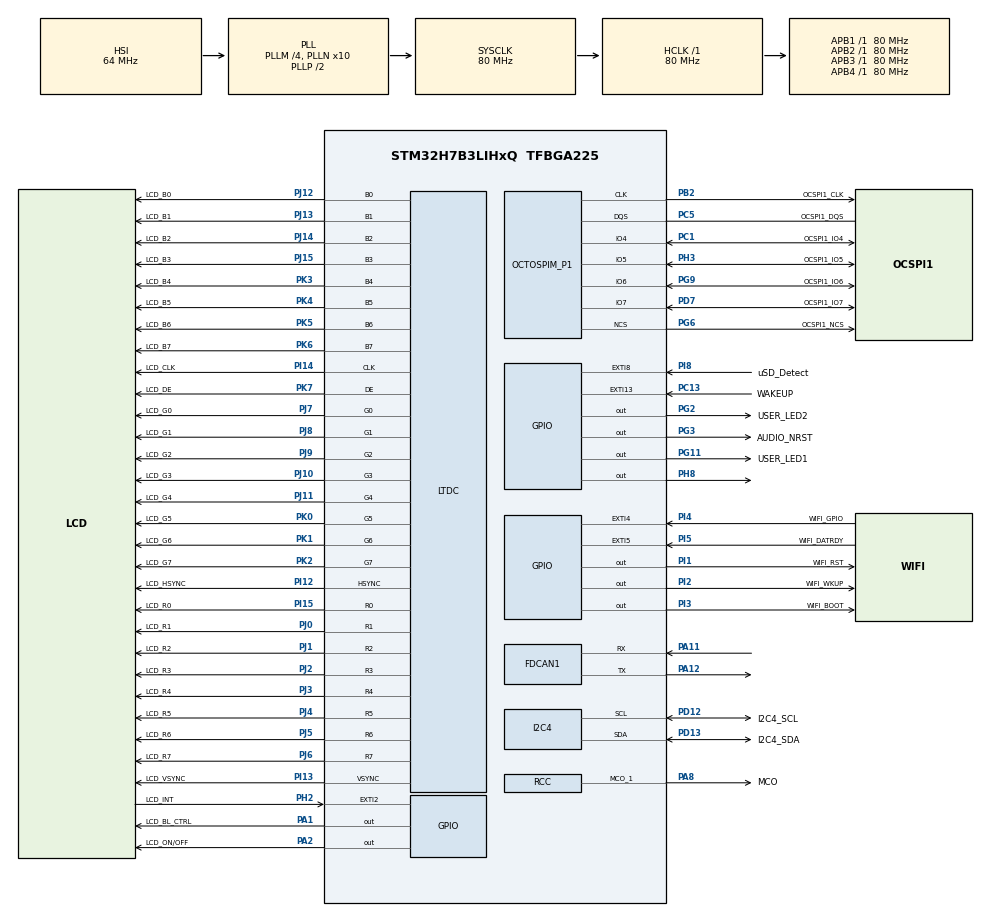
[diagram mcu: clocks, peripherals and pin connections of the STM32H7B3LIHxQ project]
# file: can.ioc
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FDCAN1.AutoRetransmission=ENABLE
FDCAN1.CalculateBaudRateNominal=250000
FDCAN1.CalculateTimeBitNominal=4000
FDCAN1.CalculateTimeQuantumNominal=500.0
FDCAN1.DataPrescaler=8
FDCAN1.DataSyncJumpWidth=4
FDCAN1.DataTimeSeg1=20
FDCAN1.DataTimeSeg2=4
FDCAN1.NominalPrescaler=12
FDCAN1.NominalSyncJumpWidth=26
FDCAN1.NominalTimeSeg1=5
FDCAN1.NominalTimeSeg2=2
FDCAN1.RxBuffersNbr=32
FDCAN1.RxFifo0ElmtsNbr=32
FDCAN1.RxFifo1ElmtsNbr=32
FDCAN1.StdFiltersNbr=1
FDCAN1.TransmitPause=ENABLE
FDCAN1.TxBuffersNbr=32
FDCAN1.TxEventsNbr=32
FDCAN1.TxFifoQueueElmtsNbr=32
I2C4.Timing=0x10909CEC
LTDC.ActiveH=272
LTDC.ActiveW=480
LTDC.HBP=43
LTDC.HFP=8
LTDC.HSync=1
LTDC.VBP=12
LTDC.VFP=4
LTDC.VSync=10
Mcu.Family=STM32H7
Mcu.Name=STM32H7B3LIHxQ
Mcu.Package=TFBGA225
NVIC.FDCAN1_IT0_IRQn=true\:0\:0\:false\:false\:true\:true\:true\:true
NVIC.PriorityGroup=NVIC_PRIORITYGROUP_4
NVIC.TIM6_DAC_IRQn=true\:15\:0\:false\:false\:true\:false\:true\:true
NVIC.TimeBase=TIM6_DAC_IRQn
NVIC.TimeBaseIP=TIM6
OCTOSPI1.MemoryType=HAL_OSPI_MEMTYPE_MACRONIX
PA0.GPIO_Label=I2S6_WS
PA0.Signal=I2S6_WS
PA1.GPIO_Label=LCD_BL_CTRL
PA1.PinState=GPIO_PIN_SET
PA1.Signal=GPIO_Output
PA10.GPIO_Label=VCP_RX
PA10.Signal=USART1_RX
PA11.Mode=FDCAN_Activate
PA11.Signal=FDCAN1_RX
PA12.Mode=FDCAN_Activate
PA12.Signal=FDCAN1_TX
PA13.GPIO_Label=JTMS
PA13.Signal=DEBUG_JTMS-SWDIO
PA14.GPIO_Label=JTCK
PA14.Signal=DEBUG_JTCK-SWCLK
PA15.GPIO_Label=JTDI
PA15.Signal=DEBUG_JTDI
PA2.GPIO_Label=LCD_ON/OFF
PA2.PinState=GPIO_PIN_SET
PA2.Signal=GPIO_Output
PA3.GPIO_Label=I2S6_MCK
PA3.Signal=I2S6_MCK
PA8.GPIO_Label=MCO
PA8.Mode=Clock-out-1
PA8.Signal=RCC_MCO_1
PA9.GPIO_Label=VCP_TX
PA9.Signal=USART1_TX
PB2.GPIO_Label=OCSPI1_CLK
PB2.Mode=O1_P1_CLK
PB2.Signal=OCTOSPIM_P1_CLK
PB3.GPIO_Label=JTDO_TRACESWO
PB3.Signal=DEBUG_JTDO-SWO
PB4.Signal=DEBUG_JTRST
PC1.GPIO_Label=OCSPI1_IO4
PC1.Mode=OCTOSPI1_IOL_Port1H
PC1.Signal=OCTOSPIM_P1_IO4
PC10.GPIO_Label=SDIO1_D2
PC10.Signal=SDMMC1_D2
PC11.GPIO_Label=SDIO1_D3
PC11.Signal=SDMMC1_D3
PC12.GPIO_Label=SDIO1_CK
PC12.Signal=SDMMC1_CK
PC13.GPIO_Label=WAKEUP
PC13.Signal=GPXTI13
PC14-OSC32_IN.Mode=LSE-External-Oscillator
PC14-OSC32_IN.Signal=RCC_OSC32_IN
PC15-OSC32_OUT.Mode=LSE-External-Oscillator
PC15-OSC32_OUT.Signal=RCC_OSC32_OUT
PC2.GPIO_Label=SPI2_MISO
PC2.Signal=SPI2_MISO
PC3.GPIO_Label=SPI2_MOSI
PC3.Signal=SPI2_MOSI
PC5.GPIO_Label=OCSPI1_DQS
PC5.Mode=OCTOSPI1_Port1_DQS
PC5.Signal=OCTOSPIM_P1_DQS
PC8.GPIO_Label=SDIO1_D0
PC8.Signal=SDMMC1_D0
PC9.GPIO_Label=SDIO1_D1
PC9.Signal=SDMMC1_D1
PD0.GPIO_Label=D2
PD0.Signal=FMC_D2_DA2
PD1.GPIO_Label=D3
PD1.Signal=FMC_D3_DA3
PD10.GPIO_Label=D15
PD10.Signal=FMC_D15_DA15
PD12.GPIO_Label=I2C4_SCL
PD12.GPIO_Pu=GPIO_PULLUP
PD12.Mode=I2C
PD12.Signal=I2C4_SCL
PD13.GPIO_Label=I2C4_SDA
PD13.GPIO_Pu=GPIO_PULLUP
PD13.Mode=I2C
PD13.Signal=I2C4_SDA
PD14.GPIO_Label=D0
PD14.Signal=FMC_D0_DA0
PD15.GPIO_Label=D1
PD15.Signal=FMC_D1_DA1
PD2.GPIO_Label=SDIO1_CMD
PD2.Signal=SDMMC1_CMD
PD7.GPIO_Label=OCSPI1_IO7
PD7.Mode=OCTOSPI1_IOL_Port1H
PD7.Signal=OCTOSPIM_P1_IO7
PD8.GPIO_Label=D13
PD8.Signal=FMC_D13_DA13
PD9.GPIO_Label=D14
PD9.Signal=FMC_D14_DA14
PE0.GPIO_Label=FMC_NBL0
PE0.Signal=FMC_NBL0
PE1.GPIO_Label=FMC_NBL1
PE1.Signal=FMC_NBL1
PE10.GPIO_Label=D7
PE10.Signal=FMC_D7_DA7
PE11.GPIO_Label=D8
PE11.Signal=FMC_D8_DA8
PE12.GPIO_Label=D9
PE12.Signal=FMC_D9_DA9
PE13.GPIO_Label=D10
PE13.Signal=FMC_D10_DA10
PE14.GPIO_Label=D11
PE14.Signal=FMC_D11_DA11
PE15.GPIO_Label=D12
PE15.Signal=FMC_D12_DA12
PE7.GPIO_Label=D4
PE7.Signal=FMC_D4_DA4
PE8.GPIO_Label=D5
PE8.Signal=FMC_D5_DA5
PE9.GPIO_Label=D6
PE9.Signal=FMC_D6_DA6
PF0.GPIO_Label=A0
PF0.Signal=FMC_A0
PF1.GPIO_Label=A1
PF1.Signal=FMC_A1
PF11.GPIO_Label=SDNRAS
PF11.Signal=FMC_SDNRAS
PF12.GPIO_Label=A6
PF12.Signal=FMC_A6
PF13.GPIO_Label=A7
PF13.Signal=FMC_A7
PF14.GPIO_Label=A8
PF14.Signal=FMC_A8
PF15.GPIO_Label=A9
PF15.Signal=FMC_A9
PF2.GPIO_Label=A2
PF2.Signal=FMC_A2
PF3.GPIO_Label=A3
PF3.Signal=FMC_A3
PF4.GPIO_Label=A4
PF4.Signal=FMC_A4
PF5.GPIO_Label=A5
PF5.Signal=FMC_A5
PG0.GPIO_Label=A10
PG0.Signal=FMC_A10
PG1.GPIO_Label=A11
PG1.Signal=FMC_A11
PG11.GPIO_Label=USER_LED1
PG11.Signal=GPIO_Output
PG12.GPIO_Label=I2S6_SDI
PG12.Signal=I2S6_SDI
PG13.GPIO_Label=I2S6_CK
PG13.Signal=I2S6_CK
PG14.GPIO_Label=I2S6_SDO
PG14.Signal=I2S6_SDO
PG15.GPIO_Label=SDNCAS
PG15.Signal=FMC_SDNCAS
PG2.GPIO_Label=USER_LED2
PG2.Signal=GPIO_Output
PG3.GPIO_Label=AUDIO_NRST
PG3.PinState=GPIO_PIN_SET
PG3.Signal=GPIO_Output
PG4.GPIO_Label=A14
PG4.Signal=FMC_A14_BA0
PG5.GPIO_Label=A15
PG5.Signal=FMC_A15_BA1
PG6.GPIO_Label=OCSPI1_NCS
PG6.Mode=OCTOSPI1_Port1_NCS
PG6.Signal=OCTOSPIM_P1_NCS
PG8.GPIO_Label=SDCLK
PG8.Signal=FMC_SDCLK
PG9.GPIO_Label=OCSPI1_IO6
PG9.Mode=OCTOSPI1_IOL_Port1H
PG9.Signal=OCTOSPIM_P1_IO6
PH0-OSC_IN.Mode=HSE-External-Oscillator
PH0-OSC_IN.Signal=RCC_OSC_IN
PH1-OSC_OUT.Mode=HSE-External-Oscillator
PH1-OSC_OUT.Signal=RCC_OSC_OUT
PH2.GPIO_Label=LCD_INT
PH2.Signal=GPXTI2
PH3.GPIO_Label=OCSPI1_IO5
PH3.Mode=OCTOSPI1_IOL_Port1H
PH3.Signal=OCTOSPIM_P1_IO5
PH5.GPIO_Label=SDNWE
PH5.Signal=FMC_SDNWE
PH6.GPIO_Label=SDNE1
PH6.Signal=FMC_SDNE1
PH7.GPIO_Label=SDCKE1
PH7.Signal=FMC_SDCKE1
PH8.Signal=GPIO_Output
PI1.GPIO_Label=WIFI_RST
PI1.Signal=GPIO_Output
PI12.GPIO_Label=LCD_HSYNC
PI12.Mode=RGB888
PI12.Signal=LTDC_HSYNC
PI13.GPIO_Label=LCD_VSYNC
PI13.Mode=RGB888
PI13.Signal=LTDC_VSYNC
PI14.GPIO_Label=LCD_CLK
PI14.Mode=RGB888
PI14.Signal=LTDC_CLK
PI15.GPIO_Label=LCD_R0
PI15.Mode=RGB888
PI15.Signal=LTDC_R0
PI2.GPIO_Label=WIFI_WKUP
PI2.Signal=GPIO_Output
PI3.GPIO_Label=WIFI_BOOT
PI3.Signal=GPIO_Output
PI4.GPIO_Label=WIFI_GPIO
PI4.Signal=GPXTI4
PI5.GPIO_Label=WIFI_DATRDY
PI5.Signal=GPXTI5
PI8.GPIO_Label=uSD_Detect
PI8.GPIO_PuPd=GPIO_PULLUP
PI8.Signal=GPXTI8
PJ0.GPIO_Label=LCD_R1
PJ0.Mode=RGB888
PJ0.Signal=LTDC_R1
PJ1.GPIO_Label=LCD_R2
PJ1.Mode=RGB888
PJ1.Signal=LTDC_R2
PJ10.GPIO_Label=LCD_G3
PJ10.Mode=RGB888
PJ10.Signal=LTDC_G3
PJ11.GPIO_Label=LCD_G4
PJ11.Mode=RGB888
PJ11.Signal=LTDC_G4
PJ12.GPIO_Label=LCD_B0
PJ12.Mode=RGB888
PJ12.Signal=LTDC_B0
PJ13.GPIO_Label=LCD_B1
PJ13.Mode=RGB888
PJ13.Signal=LTDC_B1
PJ14.GPIO_Label=LCD_B2
PJ14.Mode=RGB888
PJ14.Signal=LTDC_B2
PJ15.GPIO_Label=LCD_B3
PJ15.Mode=RGB888
PJ15.Signal=LTDC_B3
PJ2.GPIO_Label=LCD_R3
PJ2.Mode=RGB888
PJ2.Signal=LTDC_R3
PJ3.GPIO_Label=LCD_R4
PJ3.Mode=RGB888
PJ3.Signal=LTDC_R4
PJ4.GPIO_Label=LCD_R5
PJ4.Mode=RGB888
PJ4.Signal=LTDC_R5
PJ5.GPIO_Label=LCD_R6
PJ5.Mode=RGB888
PJ5.Signal=LTDC_R6
PJ6.GPIO_Label=LCD_R7
PJ6.Mode=RGB888
PJ6.Signal=LTDC_R7
PJ7.GPIO_Label=LCD_G0
PJ7.Mode=RGB888
PJ7.Signal=LTDC_G0
PJ8.GPIO_Label=LCD_G1
PJ8.Mode=RGB888
PJ8.Signal=LTDC_G1
PJ9.GPIO_Label=LCD_G2
PJ9.Mode=RGB888
PJ9.Signal=LTDC_G2
PK0.GPIO_Label=LCD_G5
PK0.Mode=RGB888
PK0.Signal=LTDC_G5
PK1.GPIO_Label=LCD_G6
PK1.Mode=RGB888
PK1.Signal=LTDC_G6
PK2.GPIO_Label=LCD_G7
PK2.Mode=RGB888
PK2.Signal=LTDC_G7
PK3.GPIO_Label=LCD_B4
PK3.Mode=RGB888
PK3.Signal=LTDC_B4
PK4.GPIO_Label=LCD_B5
PK4.Mode=RGB888
PK4.Signal=LTDC_B5
PK5.GPIO_Label=LCD_B6
PK5.Mode=RGB888
PK5.Signal=LTDC_B6
PK6.GPIO_Label=LCD_B7
PK6.Mode=RGB888
PK6.Signal=LTDC_B7
PK7.GPIO_Label=LCD_DE
PK7.Mode=RGB888
PK7.Signal=LTDC_DE
ProjectManager.HeapSize=0x200
ProjectManager.StackSize=0x400
ProjectManager.TargetToolchain=STM32CubeIDE
RCC.ADCFreq_Value=64000000
RCC.APB1Freq_Value=80000000
RCC.APB2Freq_Value=80000000
RCC.APB3Freq_Value=80000000
RCC.APB4Freq_Value=80000000
RCC.CKPERSourceSelection=RCC_CLKPSOURCE_HSE
RCC.CortexFreq_Value=80000000
RCC.DIVM1=4
RCC.DIVM2=4
RCC.DIVM3=4
RCC.DIVN1=10
RCC.DIVN2=8
RCC.DIVN3=8
RCC.DIVP3=17
RCC.DIVQ1=4
RCC.DIVR1=4
RCC.DIVR2=1
RCC.DIVR3=1
RCC.FDCANCLockSelection=RCC_FDCANCLKSOURCE_HSE
RCC.FMCCLockSelection=RCC_FMCCLKSOURCE_PLL2
RCC.HCLKFreq_Value=80000000
RCC.PLL2FRACN=0
RCC.PLL3FRACN=0
RCC.PLLFRACN=0
RCC.PWR_Regulator_Voltage_Scale=PWR_REGULATOR_VOLTAGE_SCALE0
RCC.QSPICLockSelection=RCC_OSPICLKSOURCE_PLL2
RCC.SPI123CLockSelection=RCC_SPI123CLKSOURCE_CLKP
RCC.SYSCLKFreq_VALUE=80000000
RCC.SYSCLKSource=RCC_SYSCLKSOURCE_PLLCLK
RCC.SupplySource=PWR_DIRECT_SMPS_SUPPLY
RCC.USBFreq_Value=40000000
SH.FMC_A0.0=FMC_A0
SH.FMC_A1.0=FMC_A1
SH.FMC_A10.0=FMC_A10
SH.FMC_A11.0=FMC_A11
SH.FMC_A14_BA0.0=FMC_BA0
SH.FMC_A15_BA1.0=FMC_BA1
SH.FMC_A2.0=FMC_A2
SH.FMC_A3.0=FMC_A3
SH.FMC_A4.0=FMC_A4
SH.FMC_A5.0=FMC_A5
SH.FMC_A6.0=FMC_A6
SH.FMC_A7.0=FMC_A7
SH.FMC_A8.0=FMC_A8
SH.FMC_A9.0=FMC_A9
SH.FMC_D0_DA0.0=FMC_D0
SH.FMC_D10_DA10.0=FMC_D10
SH.FMC_D11_DA11.0=FMC_D11
SH.FMC_D12_DA12.0=FMC_D12
SH.FMC_D13_DA13.0=FMC_D13
SH.FMC_D14_DA14.0=FMC_D14
SH.FMC_D15_DA15.0=FMC_D15
SH.FMC_D1_DA1.0=FMC_D1
SH.FMC_D2_DA2.0=FMC_D2
SH.FMC_D3_DA3.0=FMC_D3
SH.FMC_D4_DA4.0=FMC_D4
SH.FMC_D5_DA5.0=FMC_D5
SH.FMC_D6_DA6.0=FMC_D6
SH.FMC_D7_DA7.0=FMC_D7
SH.FMC_D8_DA8.0=FMC_D8
SH.FMC_D9_DA9.0=FMC_D9
SH.FMC_NBL0.0=FMC_NBL0
SH.FMC_NBL1.0=FMC_NBL1
SH.FMC_SDCLK.0=FMC_SDCLK
SH.FMC_SDNCAS.0=FMC_SDNCAS
SH.FMC_SDNRAS.0=FMC_SDNRAS
SH.FMC_SDNWE.0=FMC_SDNWE
VP_OCTOSPI1_VS_octo.Mode=octo_mode
VP_RTC_VS_RTC_Activate.Mode=RTC_Enabled
VP_SYS_VS_tim6.Mode=TIM6
board=STM32H7B3I-DK

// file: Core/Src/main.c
/* USER CODE BEGIN Header */
/**
  ******************************************************************************
  * @file           : main.c
  * @brief          : Main program body
  ******************************************************************************
  * @attention
  *
  * Copyright (c) 2022 STMicroelectronics.
  * All rights reserved.
  *
  * This software is licensed under terms that can be found in the LICENSE file
  * in the root directory of this software component.
  * If no LICENSE file comes with this software, it is provided AS-IS.
  *
  ******************************************************************************
  */
/* USER CODE END Header */
#include "main.h"

FDCAN_HandleTypeDef hfdcan1;

I2C_HandleTypeDef hi2c4;

LTDC_HandleTypeDef hltdc;

OSPI_HandleTypeDef hospi1;

RTC_HandleTypeDef hrtc;

void SystemClock_Config(void);
static void MX_GPIO_Init(void);
static void MX_I2C4_Init(void);
static void MX_LTDC_Init(void);
static void MX_OCTOSPI1_Init(void);
static void MX_RTC_Init(void);
static void MX_FDCAN1_Init(void);

/* USER CODE BEGIN 0 */
uint8_t TxData[8];

int datacheck = 0;

void HAL_FDCAN_RxFifo0Callback(FDCAN_HandleTypeDef *hfdcan, uint32_t RxFifo0ITs)
{
  uint8_t RxData[64];
  FDCAN_RxHeaderTypeDef RxHeader;
  if((RxFifo0ITs & FDCAN_IT_RX_FIFO0_NEW_MESSAGE) != RESET)
  {
    /* Retrieve Rx messages from RX FIFO0 */
    if (HAL_FDCAN_GetRxMessage(hfdcan, FDCAN_RX_FIFO0, &RxHeader, RxData) != HAL_OK)
    {
      Error_Handler();
    }
    if(RxHeader.Identifier == 0x321) // 0x200 for RCVR 0x201 for TXR
    {
      datacheck = 1;
    }
  }
}
/* USER CODE END 0 */

int main(void)
{

  /* MCU Configuration--------------------------------------------------------*/

  /* Reset of all peripherals, Initializes the Flash interface and the Systick. */
  HAL_Init();

  /* Configure the system clock */
  SystemClock_Config();

  /* Initialize all configured peripherals */
  MX_GPIO_Init();
  MX_I2C4_Init();
  MX_LTDC_Init();
  MX_OCTOSPI1_Init();
  MX_RTC_Init();
  MX_FDCAN1_Init();
  /* USER CODE BEGIN 2 */
  FDCAN_TxHeaderTypeDef   TxHeader;
  TxHeader.Identifier = 0x103;
  TxHeader.IdType = FDCAN_STANDARD_ID;
  TxHeader.TxFrameType = FDCAN_DATA_FRAME;
  TxHeader.DataLength = FDCAN_DLC_BYTES_8; //FDCAN_DLC_BYTES_8;
  TxHeader.ErrorStateIndicator = FDCAN_ESI_ACTIVE;
  TxHeader.BitRateSwitch = FDCAN_BRS_ON;
  TxHeader.FDFormat = FDCAN_FD_CAN;
  TxHeader.TxEventFifoControl = FDCAN_NO_TX_EVENTS;
  TxHeader.MessageMarker = 0;
  TxData[0] = 50;	//ms delay
  TxData[1] = 10;		//loop rep

  if( HAL_FDCAN_Start( &hfdcan1 ) != HAL_OK)
    {
      Error_Handler();
    }
  // Activate the notification, trigger interrupt
    HAL_FDCAN_ActivateNotification(&hfdcan1, FDCAN_IT_RX_FIFO0_NEW_MESSAGE, FDCAN_TX_BUFFER0);
    HAL_FDCAN_ConfigTxDelayCompensation(&hfdcan1, 5, 0);
    HAL_FDCAN_EnableTxDelayCompensation(&hfdcan1);

//    HAL_FDCAN_AddMessageToTxFifoQ(&hfdcan1, &TxHeader, TxData);

  /* USER CODE END 2 */

  /* Infinite loop */
  /* USER CODE BEGIN WHILE */
  while (1)
  {
//	  HAL_GPIO_TogglePin(USER_LED2_GPIO_Port, USER_LED2_Pin);
//	  HAL_Delay(1000);

	  if (HAL_FDCAN_AddMessageToTxFifoQ(&hfdcan1, &TxHeader, TxData) == HAL_OK)
	  {
//		  /* Transmission request Error */
//	      Error_Handler();
		  HAL_GPIO_TogglePin(USER_LED2_GPIO_Port, USER_LED2_Pin);
	  }
	  HAL_Delay(100);

    /* USER CODE END WHILE */

    /* USER CODE BEGIN 3 */
	  if (datacheck) {
	  // blink the LED
//		  for(int i=0; i<RxData[1]; i++){
			  HAL_GPIO_TogglePin(USER_LED1_GPIO_Port, USER_LED1_Pin);
			  HAL_Delay(1000);
//		  }
//		  datacheck = 0;

	  }
  }
  /* USER CODE END 3 */
}

void SystemClock_Config(void)
{
  RCC_OscInitTypeDef RCC_OscInitStruct = {0};
  RCC_ClkInitTypeDef RCC_ClkInitStruct = {0};

  /*AXI clock gating */
  RCC->CKGAENR = 0xFFFFFFFF;

  /** Supply configuration update enable
  */
  HAL_PWREx_ConfigSupply(PWR_DIRECT_SMPS_SUPPLY);

  /** Configure the main internal regulator output voltage
  */
  __HAL_PWR_VOLTAGESCALING_CONFIG(PWR_REGULATOR_VOLTAGE_SCALE0);

  while(!__HAL_PWR_GET_FLAG(PWR_FLAG_VOSRDY)) {}

  /** Macro to configure the PLL clock source
  */
  __HAL_RCC_PLL_PLLSOURCE_CONFIG(RCC_PLLSOURCE_HSI);

  /** Initializes the RCC Oscillators according to the specified parameters
  * in the RCC_OscInitTypeDef structure.
  */
  RCC_OscInitStruct.OscillatorType = RCC_OSCILLATORTYPE_HSI|RCC_OSCILLATORTYPE_LSI
                              |RCC_OSCILLATORTYPE_HSE;
  RCC_OscInitStruct.HSEState = RCC_HSE_ON;
  RCC_OscInitStruct.HSIState = RCC_HSI_DIV1;
  RCC_OscInitStruct.HSICalibrationValue = RCC_HSICALIBRATION_DEFAULT;
  RCC_OscInitStruct.LSIState = RCC_LSI_ON;
  RCC_OscInitStruct.PLL.PLLState = RCC_PLL_ON;
  RCC_OscInitStruct.PLL.PLLSource = RCC_PLLSOURCE_HSI;
  RCC_OscInitStruct.PLL.PLLM = 4;
  RCC_OscInitStruct.PLL.PLLN = 10;
  RCC_OscInitStruct.PLL.PLLP = 2;
  RCC_OscInitStruct.PLL.PLLQ = 4;
  RCC_OscInitStruct.PLL.PLLR = 4;
  RCC_OscInitStruct.PLL.PLLRGE = RCC_PLL1VCIRANGE_3;
  RCC_OscInitStruct.PLL.PLLVCOSEL = RCC_PLL1VCOWIDE;
  RCC_OscInitStruct.PLL.PLLFRACN = 0;
  if (HAL_RCC_OscConfig(&RCC_OscInitStruct) != HAL_OK)
  {
    Error_Handler();
  }

  /** Initializes the CPU, AHB and APB buses clocks
  */
  RCC_ClkInitStruct.ClockType = RCC_CLOCKTYPE_HCLK|RCC_CLOCKTYPE_SYSCLK
                              |RCC_CLOCKTYPE_PCLK1|RCC_CLOCKTYPE_PCLK2
                              |RCC_CLOCKTYPE_D3PCLK1|RCC_CLOCKTYPE_D1PCLK1;
  RCC_ClkInitStruct.SYSCLKSource = RCC_SYSCLKSOURCE_PLLCLK;
  RCC_ClkInitStruct.SYSCLKDivider = RCC_SYSCLK_DIV1;
  RCC_ClkInitStruct.AHBCLKDivider = RCC_HCLK_DIV1;
  RCC_ClkInitStruct.APB3CLKDivider = RCC_APB3_DIV1;
  RCC_ClkInitStruct.APB1CLKDivider = RCC_APB1_DIV1;
  RCC_ClkInitStruct.APB2CLKDivider = RCC_APB2_DIV1;
  RCC_ClkInitStruct.APB4CLKDivider = RCC_APB4_DIV1;

  if (HAL_RCC_ClockConfig(&RCC_ClkInitStruct, FLASH_LATENCY_1) != HAL_OK)
  {
    Error_Handler();
  }
  HAL_RCC_MCOConfig(RCC_MCO1, RCC_MCO1SOURCE_HSI, RCC_MCODIV_1);
}

static void MX_FDCAN1_Init(void)
{

  hfdcan1.Instance = FDCAN1;
  hfdcan1.Init.FrameFormat = FDCAN_FRAME_CLASSIC;
  hfdcan1.Init.Mode = FDCAN_MODE_NORMAL;
  hfdcan1.Init.AutoRetransmission = ENABLE;
  hfdcan1.Init.TransmitPause = ENABLE;
  hfdcan1.Init.ProtocolException = DISABLE;
  hfdcan1.Init.NominalPrescaler = 12;
  hfdcan1.Init.NominalSyncJumpWidth = 26;
  hfdcan1.Init.NominalTimeSeg1 = 5;
  hfdcan1.Init.NominalTimeSeg2 = 2;
  hfdcan1.Init.DataPrescaler = 8;
  hfdcan1.Init.DataSyncJumpWidth = 4;
  hfdcan1.Init.DataTimeSeg1 = 20;
  hfdcan1.Init.DataTimeSeg2 = 4;
  hfdcan1.Init.MessageRAMOffset = 0;
  hfdcan1.Init.StdFiltersNbr = 1;
  hfdcan1.Init.ExtFiltersNbr = 0;
  hfdcan1.Init.RxFifo0ElmtsNbr = 32;
  hfdcan1.Init.RxFifo0ElmtSize = FDCAN_DATA_BYTES_8;
  hfdcan1.Init.RxFifo1ElmtsNbr = 32;
  hfdcan1.Init.RxFifo1ElmtSize = FDCAN_DATA_BYTES_8;
  hfdcan1.Init.RxBuffersNbr = 32;
  hfdcan1.Init.RxBufferSize = FDCAN_DATA_BYTES_8;
  hfdcan1.Init.TxEventsNbr = 32;
  hfdcan1.Init.TxBuffersNbr = 32;
  hfdcan1.Init.TxFifoQueueElmtsNbr = 32;
  hfdcan1.Init.TxFifoQueueMode = FDCAN_TX_FIFO_OPERATION;
  hfdcan1.Init.TxElmtSize = FDCAN_DATA_BYTES_8;
  if (HAL_FDCAN_Init(&hfdcan1) != HAL_OK)
  {
    Error_Handler();
  }
  /* USER CODE BEGIN FDCAN1_Init 2 */

  FDCAN_FilterTypeDef FilterConfig;
  FilterConfig.IdType = FDCAN_STANDARD_ID;
  FilterConfig.FilterIndex = 0;
  FilterConfig.FilterType = FDCAN_FILTER_RANGE;
  FilterConfig.FilterConfig = FDCAN_FILTER_TO_RXFIFO0;
  FilterConfig.FilterID1 = 0x000;
  FilterConfig.FilterID2 = 0x7FF;
  if( HAL_FDCAN_ConfigFilter(&hfdcan1, &FilterConfig) != HAL_OK )
  {
	  Error_Handler();
  }
  if( HAL_FDCAN_ConfigGlobalFilter(&hfdcan1, FDCAN_REJECT, FDCAN_REJECT, FDCAN_REJECT_REMOTE, FDCAN_REJECT_REMOTE) != HAL_OK )
  {
	  Error_Handler();
  }
  /* USER CODE END FDCAN1_Init 2 */

}

static void MX_I2C4_Init(void)
{

  hi2c4.Instance = I2C4;
  hi2c4.Init.Timing = 0x10909CEC;
  hi2c4.Init.OwnAddress1 = 0;
  hi2c4.Init.AddressingMode = I2C_ADDRESSINGMODE_7BIT;
  hi2c4.Init.DualAddressMode = I2C_DUALADDRESS_DISABLE;
  hi2c4.Init.OwnAddress2 = 0;
  hi2c4.Init.OwnAddress2Masks = I2C_OA2_NOMASK;
  hi2c4.Init.GeneralCallMode = I2C_GENERALCALL_DISABLE;
  hi2c4.Init.NoStretchMode = I2C_NOSTRETCH_DISABLE;
  if (HAL_I2C_Init(&hi2c4) != HAL_OK)
  {
    Error_Handler();
  }

  /** Configure Analogue filter
  */
  if (HAL_I2CEx_ConfigAnalogFilter(&hi2c4, I2C_ANALOGFILTER_ENABLE) != HAL_OK)
  {
    Error_Handler();
  }

  /** Configure Digital filter
  */
  if (HAL_I2CEx_ConfigDigitalFilter(&hi2c4, 0) != HAL_OK)
  {
    Error_Handler();
  }

}

static void MX_LTDC_Init(void)
{

  LTDC_LayerCfgTypeDef pLayerCfg = {0};
  LTDC_LayerCfgTypeDef pLayerCfg1 = {0};

  hltdc.Instance = LTDC;
  hltdc.Init.HSPolarity = LTDC_HSPOLARITY_AL;
  hltdc.Init.VSPolarity = LTDC_VSPOLARITY_AL;
  hltdc.Init.DEPolarity = LTDC_DEPOLARITY_AL;
  hltdc.Init.PCPolarity = LTDC_PCPOLARITY_IPC;
  hltdc.Init.HorizontalSync = 0;
  hltdc.Init.VerticalSync = 9;
  hltdc.Init.AccumulatedHBP = 43;
  hltdc.Init.AccumulatedVBP = 21;
  hltdc.Init.AccumulatedActiveW = 523;
  hltdc.Init.AccumulatedActiveH = 293;
  hltdc.Init.TotalWidth = 531;
  hltdc.Init.TotalHeigh = 297;
  hltdc.Init.Backcolor.Blue = 0;
  hltdc.Init.Backcolor.Green = 0;
  hltdc.Init.Backcolor.Red = 0;
  if (HAL_LTDC_Init(&hltdc) != HAL_OK)
  {
    Error_Handler();
  }
  pLayerCfg.WindowX0 = 0;
  pLayerCfg.WindowX1 = 0;
  pLayerCfg.WindowY0 = 0;
  pLayerCfg.WindowY1 = 0;
  pLayerCfg.PixelFormat = LTDC_PIXEL_FORMAT_ARGB8888;
  pLayerCfg.Alpha = 0;
  pLayerCfg.Alpha0 = 0;
  pLayerCfg.BlendingFactor1 = LTDC_BLENDING_FACTOR1_CA;
  pLayerCfg.BlendingFactor2 = LTDC_BLENDING_FACTOR2_CA;
  pLayerCfg.FBStartAdress = 0;
  pLayerCfg.ImageWidth = 0;
  pLayerCfg.ImageHeight = 0;
  pLayerCfg.Backcolor.Blue = 0;
  pLayerCfg.Backcolor.Green = 0;
  pLayerCfg.Backcolor.Red = 0;
  if (HAL_LTDC_ConfigLayer(&hltdc, &pLayerCfg, 0) != HAL_OK)
  {
    Error_Handler();
  }
  pLayerCfg1.WindowX0 = 0;
  pLayerCfg1.WindowX1 = 0;
  pLayerCfg1.WindowY0 = 0;
  pLayerCfg1.WindowY1 = 0;
  pLayerCfg1.PixelFormat = LTDC_PIXEL_FORMAT_ARGB8888;
  pLayerCfg1.Alpha = 0;
  pLayerCfg1.Alpha0 = 0;
  pLayerCfg1.BlendingFactor1 = LTDC_BLENDING_FACTOR1_CA;
  pLayerCfg1.BlendingFactor2 = LTDC_BLENDING_FACTOR2_CA;
  pLayerCfg1.FBStartAdress = 0;
  pLayerCfg1.ImageWidth = 0;
  pLayerCfg1.ImageHeight = 0;
  pLayerCfg1.Backcolor.Blue = 0;
  pLayerCfg1.Backcolor.Green = 0;
  pLayerCfg1.Backcolor.Red = 0;
  if (HAL_LTDC_ConfigLayer(&hltdc, &pLayerCfg1, 1) != HAL_OK)
  {
    Error_Handler();
  }

}

static void MX_OCTOSPI1_Init(void)
{

  OSPIM_CfgTypeDef sOspiManagerCfg = {0};

  /* OCTOSPI1 parameter configuration*/
  hospi1.Instance = OCTOSPI1;
  hospi1.Init.FifoThreshold = 1;
  hospi1.Init.DualQuad = HAL_OSPI_DUALQUAD_DISABLE;
  hospi1.Init.MemoryType = HAL_OSPI_MEMTYPE_MACRONIX;
  hospi1.Init.DeviceSize = 32;
  hospi1.Init.ChipSelectHighTime = 1;
  hospi1.Init.FreeRunningClock = HAL_OSPI_FREERUNCLK_DISABLE;
  hospi1.Init.ClockMode = HAL_OSPI_CLOCK_MODE_0;
  hospi1.Init.WrapSize = HAL_OSPI_WRAP_NOT_SUPPORTED;
  hospi1.Init.ClockPrescaler = 1;
  hospi1.Init.SampleShifting = HAL_OSPI_SAMPLE_SHIFTING_NONE;
  hospi1.Init.DelayHoldQuarterCycle = HAL_OSPI_DHQC_DISABLE;
  hospi1.Init.ChipSelectBoundary = 0;
  hospi1.Init.DelayBlockBypass = HAL_OSPI_DELAY_BLOCK_BYPASSED;
  hospi1.Init.MaxTran = 0;
  hospi1.Init.Refresh = 0;
  if (HAL_OSPI_Init(&hospi1) != HAL_OK)
  {
    Error_Handler();
  }
  sOspiManagerCfg.ClkPort = 1;
  sOspiManagerCfg.DQSPort = 1;
  sOspiManagerCfg.NCSPort = 1;
  sOspiManagerCfg.IOLowPort = HAL_OSPIM_IOPORT_1_HIGH;
  if (HAL_OSPIM_Config(&hospi1, &sOspiManagerCfg, HAL_OSPI_TIMEOUT_DEFAULT_VALUE) != HAL_OK)
  {
    Error_Handler();
  }

}

static void MX_RTC_Init(void)
{

  /** Initialize RTC Only
  */
  hrtc.Instance = RTC;
  hrtc.Init.HourFormat = RTC_HOURFORMAT_24;
  hrtc.Init.AsynchPrediv = 127;
  hrtc.Init.SynchPrediv = 255;
  hrtc.Init.OutPut = RTC_OUTPUT_DISABLE;
  hrtc.Init.OutPutPolarity = RTC_OUTPUT_POLARITY_HIGH;
  hrtc.Init.OutPutType = RTC_OUTPUT_TYPE_OPENDRAIN;
  hrtc.Init.OutPutRemap = RTC_OUTPUT_REMAP_NONE;
  if (HAL_RTC_Init(&hrtc) != HAL_OK)
  {
    Error_Handler();
  }

}

static void MX_GPIO_Init(void)
{
  GPIO_InitTypeDef GPIO_InitStruct = {0};

  /* GPIO Ports Clock Enable */
  __HAL_RCC_GPIOI_CLK_ENABLE();
  __HAL_RCC_GPIOG_CLK_ENABLE();
  __HAL_RCC_GPIOK_CLK_ENABLE();
  __HAL_RCC_GPIOD_CLK_ENABLE();
  __HAL_RCC_GPIOC_CLK_ENABLE();
  __HAL_RCC_GPIOE_CLK_ENABLE();
  __HAL_RCC_GPIOB_CLK_ENABLE();
  __HAL_RCC_GPIOJ_CLK_ENABLE();
  __HAL_RCC_GPIOA_CLK_ENABLE();
  __HAL_RCC_GPIOF_CLK_ENABLE();
  __HAL_RCC_GPIOH_CLK_ENABLE();

  /*Configure GPIO pin Output Level */
  HAL_GPIO_WritePin(GPIOI, WIFI_BOOT_Pin|WIFI_WKUP_Pin|WIFI_RST_Pin, GPIO_PIN_RESET);

  /*Configure GPIO pin Output Level */
  HAL_GPIO_WritePin(GPIOG, USER_LED1_Pin|USER_LED2_Pin, GPIO_PIN_RESET);

  /*Configure GPIO pin Output Level */
  HAL_GPIO_WritePin(AUDIO_NRST_GPIO_Port, AUDIO_NRST_Pin, GPIO_PIN_SET);

  /*Configure GPIO pin Output Level */
  HAL_GPIO_WritePin(GPIOA, LCD_BL_CTRL_Pin|LCD_ON_OFF_Pin, GPIO_PIN_SET);

  /*Configure GPIO pin Output Level */
  HAL_GPIO_WritePin(GPIOH, GPIO_PIN_8, GPIO_PIN_RESET);

  /*Configure GPIO pins : WIFI_GPIO_Pin WIFI_DATRDY_Pin */
  GPIO_InitStruct.Pin = WIFI_GPIO_Pin|WIFI_DATRDY_Pin;
  GPIO_InitStruct.Mode = GPIO_MODE_IT_RISING;
  GPIO_InitStruct.Pull = GPIO_NOPULL;
  HAL_GPIO_Init(GPIOI, &GPIO_InitStruct);

  /*Configure GPIO pins : SDNCAS_Pin SDCLK_Pin A15_Pin A14_Pin
                           A11_Pin A10_Pin */
  GPIO_InitStruct.Pin = SDNCAS_Pin|SDCLK_Pin|A15_Pin|A14_Pin
                          |A11_Pin|A10_Pin;
  GPIO_InitStruct.Mode = GPIO_MODE_AF_PP;
  GPIO_InitStruct.Pull = GPIO_NOPULL;
  GPIO_InitStruct.Speed = GPIO_SPEED_FREQ_VERY_HIGH;
  GPIO_InitStruct.Alternate = GPIO_AF12_FMC;
  HAL_GPIO_Init(GPIOG, &GPIO_InitStruct);

  /*Configure GPIO pins : I2S6_SDO_Pin I2S6_SDI_Pin I2S6_CK_Pin */
  GPIO_InitStruct.Pin = I2S6_SDO_Pin|I2S6_SDI_Pin|I2S6_CK_Pin;
  GPIO_InitStruct.Mode = GPIO_MODE_AF_PP;
  GPIO_InitStruct.Pull = GPIO_NOPULL;
  GPIO_InitStruct.Speed = GPIO_SPEED_FREQ_LOW;
  GPIO_InitStruct.Alternate = GPIO_AF5_SPI6;
  HAL_GPIO_Init(GPIOG, &GPIO_InitStruct);

  /*Configure GPIO pins : D3_Pin D2_Pin D0_Pin D1_Pin
                           D13_Pin D15_Pin D14_Pin */
  GPIO_InitStruct.Pin = D3_Pin|D2_Pin|D0_Pin|D1_Pin
                          |D13_Pin|D15_Pin|D14_Pin;
  GPIO_InitStruct.Mode = GPIO_MODE_AF_PP;
  GPIO_InitStruct.Pull = GPIO_NOPULL;
  GPIO_InitStruct.Speed = GPIO_SPEED_FREQ_VERY_HIGH;
  GPIO_InitStruct.Alternate = GPIO_AF12_FMC;
  HAL_GPIO_Init(GPIOD, &GPIO_InitStruct);

  /*Configure GPIO pins : SDIO1_D2_Pin SDIO1_CK_Pin SDIO1_D3_Pin SDIO1_D1_Pin
                           SDIO1_D0_Pin */
  GPIO_InitStruct.Pin = SDIO1_D2_Pin|SDIO1_CK_Pin|SDIO1_D3_Pin|SDIO1_D1_Pin
                          |SDIO1_D0_Pin;
  GPIO_InitStruct.Mode = GPIO_MODE_AF_PP;
  GPIO_InitStruct.Pull = GPIO_NOPULL;
  GPIO_InitStruct.Speed = GPIO_SPEED_FREQ_VERY_HIGH;
  GPIO_InitStruct.Alternate = GPIO_AF12_SDMMC1;
  HAL_GPIO_Init(GPIOC, &GPIO_InitStruct);

  /*Configure GPIO pins : WIFI_BOOT_Pin WIFI_WKUP_Pin WIFI_RST_Pin */
  GPIO_InitStruct.Pin = WIFI_BOOT_Pin|WIFI_WKUP_Pin|WIFI_RST_Pin;
  GPIO_InitStruct.Mode = GPIO_MODE_OUTPUT_PP;
  GPIO_InitStruct.Pull = GPIO_NOPULL;
  GPIO_InitStruct.Speed = GPIO_SPEED_FREQ_LOW;
  HAL_GPIO_Init(GPIOI, &GPIO_InitStruct);

  /*Configure GPIO pins : FMC_NBL0_Pin FMC_NBL1_Pin D9_Pin D4_Pin
                           D10_Pin D11_Pin D7_Pin D6_Pin
                           D12_Pin D5_Pin D8_Pin */
  GPIO_InitStruct.Pin = FMC_NBL0_Pin|FMC_NBL1_Pin|D9_Pin|D4_Pin
                          |D10_Pin|D11_Pin|D7_Pin|D6_Pin
                          |D12_Pin|D5_Pin|D8_Pin;
  GPIO_InitStruct.Mode = GPIO_MODE_AF_PP;
  GPIO_InitStruct.Pull = GPIO_NOPULL;
  GPIO_InitStruct.Speed = GPIO_SPEED_FREQ_VERY_HIGH;
  GPIO_InitStruct.Alternate = GPIO_AF12_FMC;
  HAL_GPIO_Init(GPIOE, &GPIO_InitStruct);

  /*Configure GPIO pins : USER_LED1_Pin AUDIO_NRST_Pin USER_LED2_Pin */
  GPIO_InitStruct.Pin = USER_LED1_Pin|AUDIO_NRST_Pin|USER_LED2_Pin;
  GPIO_InitStruct.Mode = GPIO_MODE_OUTPUT_PP;
  GPIO_InitStruct.Pull = GPIO_NOPULL;
  GPIO_InitStruct.Speed = GPIO_SPEED_FREQ_LOW;
  HAL_GPIO_Init(GPIOG, &GPIO_InitStruct);

  /*Configure GPIO pin : SDIO1_CMD_Pin */
  GPIO_InitStruct.Pin = SDIO1_CMD_Pin;
  GPIO_InitStruct.Mode = GPIO_MODE_AF_PP;
  GPIO_InitStruct.Pull = GPIO_NOPULL;
  GPIO_InitStruct.Speed = GPIO_SPEED_FREQ_VERY_HIGH;
  GPIO_InitStruct.Alternate = GPIO_AF12_SDMMC1;
  HAL_GPIO_Init(SDIO1_CMD_GPIO_Port, &GPIO_InitStruct);

  /*Configure GPIO pin : uSD_Detect_Pin */
  GPIO_InitStruct.Pin = uSD_Detect_Pin;
  GPIO_InitStruct.Mode = GPIO_MODE_IT_RISING;
  GPIO_InitStruct.Pull = GPIO_PULLUP;
  HAL_GPIO_Init(uSD_Detect_GPIO_Port, &GPIO_InitStruct);

  /*Configure GPIO pins : VCP_RX_Pin VCP_TX_Pin */
  GPIO_InitStruct.Pin = VCP_RX_Pin|VCP_TX_Pin;
  GPIO_InitStruct.Mode = GPIO_MODE_AF_PP;
  GPIO_InitStruct.Pull = GPIO_NOPULL;
  GPIO_InitStruct.Speed = GPIO_SPEED_FREQ_LOW;
  GPIO_InitStruct.Alternate = GPIO_AF7_USART1;
  HAL_GPIO_Init(GPIOA, &GPIO_InitStruct);

  /*Configure GPIO pin : WAKEUP_Pin */
  GPIO_InitStruct.Pin = WAKEUP_Pin;
  GPIO_InitStruct.Mode = GPIO_MODE_IT_RISING;
  GPIO_InitStruct.Pull = GPIO_NOPULL;
  HAL_GPIO_Init(WAKEUP_GPIO_Port, &GPIO_InitStruct);

  /*Configure GPIO pins : A1_Pin A0_Pin A2_Pin A4_Pin
                           A3_Pin A5_Pin A7_Pin SDNRAS_Pin
                           A9_Pin A8_Pin A6_Pin */
  GPIO_InitStruct.Pin = A1_Pin|A0_Pin|A2_Pin|A4_Pin
                          |A3_Pin|A5_Pin|A7_Pin|SDNRAS_Pin
                          |A9_Pin|A8_Pin|A6_Pin;
  GPIO_InitStruct.Mode = GPIO_MODE_AF_PP;
  GPIO_InitStruct.Pull = GPIO_NOPULL;
  GPIO_InitStruct.Speed = GPIO_SPEED_FREQ_VERY_HIGH;
  GPIO_InitStruct.Alternate = GPIO_AF12_FMC;
  HAL_GPIO_Init(GPIOF, &GPIO_InitStruct);

  /*Configure GPIO pin : MCO_Pin */
  GPIO_InitStruct.Pin = MCO_Pin;
  GPIO_InitStruct.Mode = GPIO_MODE_AF_PP;
  GPIO_InitStruct.Pull = GPIO_NOPULL;
  GPIO_InitStruct.Speed = GPIO_SPEED_FREQ_LOW;
  GPIO_InitStruct.Alternate = GPIO_AF0_MCO;
  HAL_GPIO_Init(MCO_GPIO_Port, &GPIO_InitStruct);

  /*Configure GPIO pins : SPI2_MISO_Pin SPI2_MOSI_Pin */
  GPIO_InitStruct.Pin = SPI2_MISO_Pin|SPI2_MOSI_Pin;
  GPIO_InitStruct.Mode = GPIO_MODE_AF_PP;
  GPIO_InitStruct.Pull = GPIO_NOPULL;
  GPIO_InitStruct.Speed = GPIO_SPEED_FREQ_LOW;
  GPIO_InitStruct.Alternate = GPIO_AF5_SPI2;
  HAL_GPIO_Init(GPIOC, &GPIO_InitStruct);

  /*Configure GPIO pin : LCD_INT_Pin */
  GPIO_InitStruct.Pin = LCD_INT_Pin;
  GPIO_InitStruct.Mode = GPIO_MODE_IT_RISING;
  GPIO_InitStruct.Pull = GPIO_NOPULL;
  HAL_GPIO_Init(LCD_INT_GPIO_Port, &GPIO_InitStruct);

  /*Configure GPIO pins : SDNE1_Pin SDNWE_Pin SDCKE1_Pin */
  GPIO_InitStruct.Pin = SDNE1_Pin|SDNWE_Pin|SDCKE1_Pin;
  GPIO_InitStruct.Mode = GPIO_MODE_AF_PP;
  GPIO_InitStruct.Pull = GPIO_NOPULL;
  GPIO_InitStruct.Speed = GPIO_SPEED_FREQ_VERY_HIGH;
  GPIO_InitStruct.Alternate = GPIO_AF12_FMC;
  HAL_GPIO_Init(GPIOH, &GPIO_InitStruct);

  /*Configure GPIO pins : I2S6_WS_Pin I2S6_MCK_Pin */
  GPIO_InitStruct.Pin = I2S6_WS_Pin|I2S6_MCK_Pin;
  GPIO_InitStruct.Mode = GPIO_MODE_AF_PP;
  GPIO_InitStruct.Pull = GPIO_NOPULL;
  GPIO_InitStruct.Speed = GPIO_SPEED_FREQ_LOW;
  GPIO_InitStruct.Alternate = GPIO_AF5_SPI6;
  HAL_GPIO_Init(GPIOA, &GPIO_InitStruct);

  /*Configure GPIO pins : LCD_BL_CTRL_Pin LCD_ON_OFF_Pin */
  GPIO_InitStruct.Pin = LCD_BL_CTRL_Pin|LCD_ON_OFF_Pin;
  GPIO_InitStruct.Mode = GPIO_MODE_OUTPUT_PP;
  GPIO_InitStruct.Pull = GPIO_NOPULL;
  GPIO_InitStruct.Speed = GPIO_SPEED_FREQ_LOW;
  HAL_GPIO_Init(GPIOA, &GPIO_InitStruct);

  /*Configure GPIO pin : PH8 */
  GPIO_InitStruct.Pin = GPIO_PIN_8;
  GPIO_InitStruct.Mode = GPIO_MODE_OUTPUT_PP;
  GPIO_InitStruct.Pull = GPIO_NOPULL;
  GPIO_InitStruct.Speed = GPIO_SPEED_FREQ_LOW;
  HAL_GPIO_Init(GPIOH, &GPIO_InitStruct);

}

/* USER CODE BEGIN 4 */

//void FDCAN_Send( uint32_t Identifier, uint8_t *payload )
//{
//  uint8_t tries = 0;
//  FDCAN_TxHeaderTypeDef   TxHeader;
//  TxHeader.Identifier = Identifier;
//  TxHeader.IdType = FDCAN_STANDARD_ID;
//  TxHeader.TxFrameType = FDCAN_DATA_FRAME;
//  TxHeader.DataLength = FDCAN_DLC_BYTES_64; //FDCAN_DLC_BYTES_64;
//  TxHeader.ErrorStateIndicator = FDCAN_ESI_ACTIVE;
//  TxHeader.BitRateSwitch = FDCAN_BRS_ON;
//  TxHeader.FDFormat = FDCAN_FD_CAN;
//  TxHeader.TxEventFifoControl = FDCAN_NO_TX_EVENTS;
//  TxHeader.MessageMarker = 0;
//  while( HAL_FDCAN_GetTxFifoFreeLevel(&hfdcan1) == 0 )
//  {
//      /* Wait for FIFO to become free */
//    tries ++;
//    if(tries > 10)
//    {
//      Error_Handler();
//    }
//    HAL_Delay(20);
//  }
//  if (HAL_FDCAN_AddMessageToTxFifoQ(&hfdcan1, &TxHeader, payload) != HAL_OK)
//  {
//    /* Transmission request Error */
//    Error_Handler();
//  }
//}

//void HAL_FDCAN_RxFifo0Callback(FDCAN_HandleTypeDef *hfdcan, uint32_t RxFifo0ITs)
//{
//  uint8_t RxData[8];
//  FDCAN_RxHeaderTypeDef RxHeader;
//  if((RxFifo0ITs & FDCAN_IT_RX_FIFO0_NEW_MESSAGE) != RESET)
//  {
//    /* Retrieve Rx messages from RX FIFO0 */
//    if (HAL_FDCAN_GetRxMessage(hfdcan, FDCAN_RX_FIFO0, &RxHeader, RxData) != HAL_OK)
//    {
//      Error_Handler();
//    }
//    if(RxHeader.Identifier == 0x321) // 0x321 for RCVR 0x201 for TXR
//    {
//    	datacheck = 1;
////    	FDCAN_Send( 0x201, RxData); // 0x201 for RCVR 0x200 for TXR
//    }
//  }
//}

/* USER CODE END 4 */

void HAL_TIM_PeriodElapsedCallback(TIM_HandleTypeDef *htim)
{
  if (htim->Instance == TIM6) {
    HAL_IncTick();
  }
}

void Error_Handler(void)
{
  __disable_irq();
  while (1)
  {
  }
}
